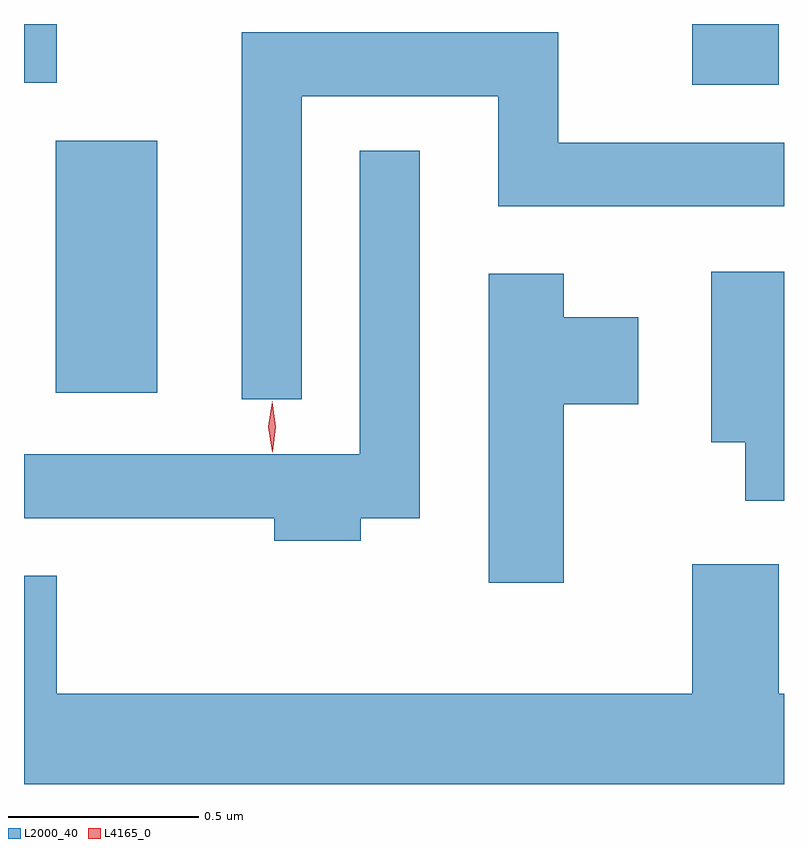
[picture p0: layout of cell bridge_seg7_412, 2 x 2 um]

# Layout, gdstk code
import gdstk
lib = gdstk.Library(unit=1e-6, precision=1e-09)
def R(c, l, rs):  # rectangles x0, y0, x1, y1
    for r in rs: c.add(gdstk.rectangle(r[:2], r[2:], *l))
def P(c, l, *ps):  # polygons
    for p in ps: c.add(gdstk.Polygon(p, *l))
L2000_40 = (2000, 40)
L4165_0 = (4165, 0)

bridge_seg7_412 = lib.new_cell('bridge_seg7_412')
R(bridge_seg7_412, L2000_40, [(1068.856,1739.796,1069.124,1740.459), (1070.531,1740.606,1070.759,1740.766), (1068.773,1740.611,1068.859,1740.766)])
P(bridge_seg7_412, L2000_40, [(1069.504,1740.576),(1070.021,1740.576),(1070.021,1740.286),(1070.773,1740.286),(1070.773,1740.454),(1070.179,1740.454),(1070.179,1740.744),(1069.346,1740.744),(1069.346,1739.778),(1069.504,1739.778)],
  [(1069.659,1739.466),(1069.814,1739.466),(1069.814,1740.433),(1069.656,1740.433),(1069.656,1739.634),(1068.773,1739.634),(1068.773,1739.466),(1069.431,1739.466),(1069.431,1739.406),(1069.659,1739.406)],
  [(1070.773,1740.114),(1070.581,1740.114),(1070.581,1739.666),(1070.671,1739.666),(1070.671,1739.511),(1070.773,1739.511)],
  [(1070.194,1739.766),(1070.389,1739.766),(1070.389,1739.994),(1070.194,1739.994),(1070.194,1740.109),(1069.996,1740.109),(1069.996,1739.296),(1070.194,1739.296)],
  [(1070.773,1739.004),(1070.759,1739.004),(1070.759,1739.344),(1070.531,1739.344),(1070.531,1739.004),(1068.859,1739.004),(1068.859,1739.314),(1068.773,1739.314),(1068.773,1738.766),(1070.773,1738.766)])
P(bridge_seg7_412, L4165_0, [(1069.426,1739.639),(1069.426,1739.64),(1069.416,1739.706),(1069.426,1739.772),(1069.426,1739.773),(1069.426,1739.772),(1069.436,1739.706),(1069.427,1739.64)])

lib.write_gds('bridge_seg7_412.gds')
